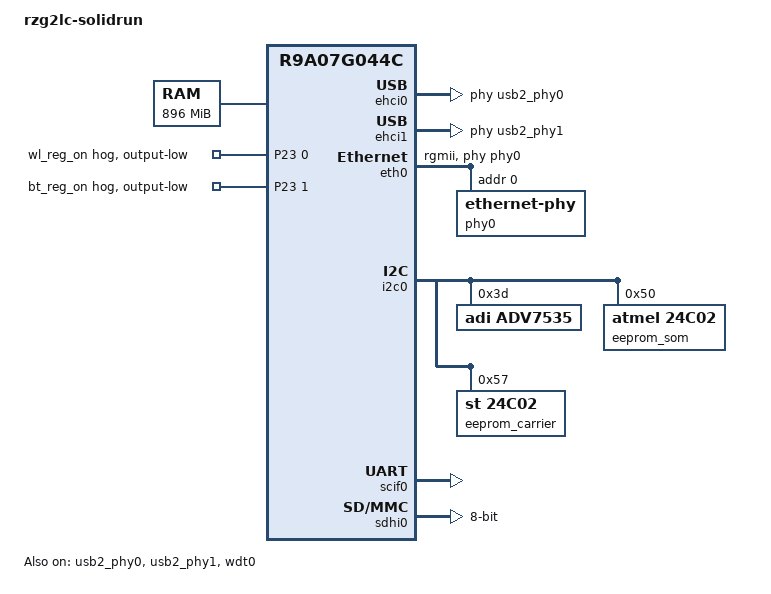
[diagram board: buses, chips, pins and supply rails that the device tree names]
// SPDX-License-Identifier: GPL-2.0
/*
 * Device Tree Source for the SolidRun G2LC SoM
 *
 * Copyright (C) 2024 SolidRun Ltd.
 */

/dts-v1/;
#include <dt-bindings/gpio/gpio.h>
#include "r9a07g044c.dtsi"
#include "r9a07g044c-u-boot.dtsi"
#include <dt-bindings/pinctrl/rzg2l-pinctrl.h>

/ {
	model = "rzg2lc-solidrun";
	compatible = "solidrun,hummingboard", "solidrun,rzg2lc-som";

	aliases {
		serial0 = &scif0;
		eeprom_som = &eeprom_som;
		eeprom_carrier = &eeprom_carrier;
	};

	chosen {
		stdout-path = "serial0:115200n8";
	};

	memory@48000000 {
		device_type = "memory";
		/* first 128MB is reserved for secure area. */
		reg = <0 0x48000000 0 0x38000000>;
	};

	config {
		sdio_mux_gpios = <&P22 1 GPIO_ACTIVE_HIGH>, <&P39 0 GPIO_ACTIVE_HIGH>;
		usb_vbus_gpios = <&P4 0 GPIO_ACTIVE_HIGH>, <&P5 0 GPIO_ACTIVE_HIGH>;
	};

	wdt-reboot {
		compatible = "wdt-reboot";
		wdt = <&wdt0>;
	};
};

// &P18 {
// 	gpio_power_hog {
// 		gpio-hog;
// 		output-high;
// 		line-name = "SD Power On";
// 		gpios = <1 GPIO_ACTIVE_LOW>;
// 	};
// };

&P23 {
	wl_reg_on {
		gpio-hog;
		output-low;
		line-name = "wl_reg_on";
		gpios = <0 GPIO_ACTIVE_HIGH>;
	};

	bt_reg_on {
		gpio-hog;
		output-low;
		line-name = "bt_reg_on";
		gpios = <1 GPIO_ACTIVE_HIGH>;
	};
};

&ehci0 {
	status = "okay";
	phys = <&usb2_phy0>;
};

&ehci1 {
	status = "okay";
	phys = <&usb2_phy1>;
};

&eth0 {
	pinctrl-names = "default";
	pinctrl-0 = <&eth0_pins>;
	phy-handle = <&phy0>;
	phy-mode = "rgmii";
	status = "okay";
	phy0: ethernet-phy@0 {
		reg = <0>;
	};
};

&i2c0 {
	pinctrl-names = "default";
	status = "okay";

	adv7535: hdmi@3d {
		compatible = "adi,adv7535";
		reg = <0x3d>;
	};

	eeprom_som: m24c02@50 {
		compatible = "atmel,24c02";
		reg = <0x50>;
	};

	eeprom_carrier: eeprom@57 {
		compatible = "st,24c02", "atmel,24c02";
		reg = <0x57>;
		pagesize = <8>;
	};

};

&pinctrl {
	eth0_pins: eth0 {
		pinmux = <RZG2L_PINMUX(20, 0, 1)>,
			 <RZG2L_PINMUX(20, 1, 1)>,
			 <RZG2L_PINMUX(20, 2, 1)>,
			 <RZG2L_PINMUX(21, 0, 1)>,
			 <RZG2L_PINMUX(21, 1, 1)>,
			 <RZG2L_PINMUX(22, 0, 1)>,
			 <RZG2L_PINMUX(23, 0, 1)>,
			 <RZG2L_PINMUX(23, 1, 1)>,
			 <RZG2L_PINMUX(24, 0, 1)>,
			 <RZG2L_PINMUX(24, 1, 1)>,
			 <RZG2L_PINMUX(25, 0, 1)>,
			 <RZG2L_PINMUX(25, 1, 1)>,
			 <RZG2L_PINMUX(26, 0, 1)>,
			 <RZG2L_PINMUX(26, 1, 1)>,
			 <RZG2L_PINMUX(27, 0, 1)>,
			 <RZG2L_PINMUX(27, 1, 1)>,
			 <RZG2L_PINMUX(28, 0, 1)>,
			 <RZG2L_PINMUX(28, 1, 1)>;
	};
};

&scif0 {
	status = "okay";
	clock = <100000000>;
};

&sdhi0 {
	/* pinctrl placeholder
	 * If this channel is used for interfacing with a SD card, a power enable
	 * pin (SD0_PWR_EN) must be defined.
	 * The SD0_PWR_EN pin is associated with P18_1.
	 * A HIGH signal on SD0_PWR_EN will enable supply voltage for SD card.
	*/
	bus-width = <8>;
	mutual-channel;
	status = "okay";
};

&sdhi1 {
	status = "disabled";
};

&usb2_phy0 {
	status = "okay";
};

&usb2_phy1 {
	status = "okay";
};

&xinclk {
	clock-frequency = <24000000>;
};

&wdt0 {
	status = "okay";
};
